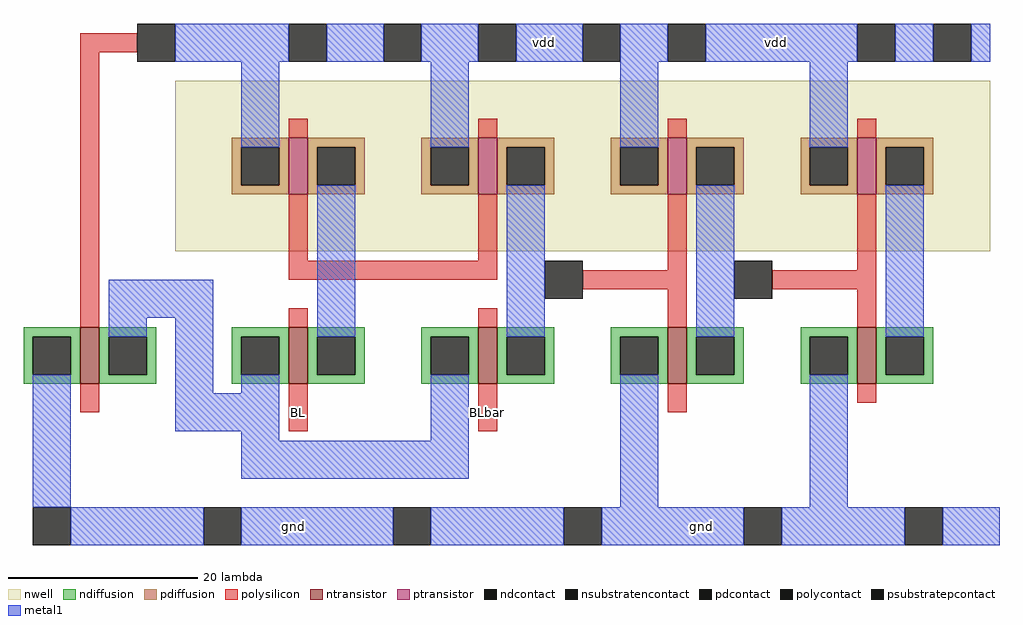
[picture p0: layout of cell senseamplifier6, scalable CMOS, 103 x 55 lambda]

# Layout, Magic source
magic
tech scmos
<< nwell >>
rect -22 -4 64 14
<< ntransistor >>
rect -32 -18 -30 -12
rect -10 -18 -8 -12
rect 10 -18 12 -12
rect 30 -18 32 -12
rect 50 -18 52 -12
<< ptransistor >>
rect -10 2 -8 8
rect 10 2 12 8
rect 30 2 32 8
rect 50 2 52 8
<< ndiffusion >>
rect -38 -13 -32 -12
rect -38 -17 -37 -13
rect -33 -17 -32 -13
rect -38 -18 -32 -17
rect -30 -13 -24 -12
rect -30 -17 -29 -13
rect -25 -17 -24 -13
rect -30 -18 -24 -17
rect -16 -13 -10 -12
rect -16 -17 -15 -13
rect -11 -17 -10 -13
rect -16 -18 -10 -17
rect -8 -13 -2 -12
rect -8 -17 -7 -13
rect -3 -17 -2 -13
rect -8 -18 -2 -17
rect 4 -13 10 -12
rect 4 -17 5 -13
rect 9 -17 10 -13
rect 4 -18 10 -17
rect 12 -13 18 -12
rect 12 -17 13 -13
rect 17 -17 18 -13
rect 12 -18 18 -17
rect 24 -13 30 -12
rect 24 -17 25 -13
rect 29 -17 30 -13
rect 24 -18 30 -17
rect 32 -13 38 -12
rect 32 -17 33 -13
rect 37 -17 38 -13
rect 32 -18 38 -17
rect 44 -13 50 -12
rect 44 -17 45 -13
rect 49 -17 50 -13
rect 44 -18 50 -17
rect 52 -13 58 -12
rect 52 -17 53 -13
rect 57 -17 58 -13
rect 52 -18 58 -17
<< pdiffusion >>
rect -16 7 -10 8
rect -16 3 -15 7
rect -11 3 -10 7
rect -16 2 -10 3
rect -8 7 -2 8
rect -8 3 -7 7
rect -3 3 -2 7
rect -8 2 -2 3
rect 4 7 10 8
rect 4 3 5 7
rect 9 3 10 7
rect 4 2 10 3
rect 12 7 18 8
rect 12 3 13 7
rect 17 3 18 7
rect 12 2 18 3
rect 24 7 30 8
rect 24 3 25 7
rect 29 3 30 7
rect 24 2 30 3
rect 32 7 38 8
rect 32 3 33 7
rect 37 3 38 7
rect 32 2 38 3
rect 44 7 50 8
rect 44 3 45 7
rect 49 3 50 7
rect 44 2 50 3
rect 52 7 58 8
rect 52 3 53 7
rect 57 3 58 7
rect 52 2 58 3
<< ndcontact >>
rect -37 -17 -33 -13
rect -29 -17 -25 -13
rect -15 -17 -11 -13
rect -7 -17 -3 -13
rect 5 -17 9 -13
rect 13 -17 17 -13
rect 25 -17 29 -13
rect 33 -17 37 -13
rect 45 -17 49 -13
rect 53 -17 57 -13
<< pdcontact >>
rect -15 3 -11 7
rect -7 3 -3 7
rect 5 3 9 7
rect 13 3 17 7
rect 25 3 29 7
rect 33 3 37 7
rect 45 3 49 7
rect 53 3 57 7
<< psubstratepcontact >>
rect -37 -35 -33 -31
rect -19 -35 -15 -31
rect 1 -35 5 -31
rect 19 -35 23 -31
rect 38 -35 42 -31
rect 55 -35 59 -31
<< nsubstratencontact >>
rect -10 16 -6 20
rect 0 16 4 20
rect 10 16 14 20
rect 21 16 25 20
rect 30 16 34 20
rect 50 16 54 20
rect 58 16 62 20
<< polysilicon >>
rect -32 17 -26 19
rect -32 -12 -30 17
rect -10 8 -8 10
rect 10 8 12 10
rect 30 8 32 10
rect 50 8 52 10
rect -10 -5 -8 2
rect 10 -5 12 2
rect -10 -7 12 -5
rect 30 -6 32 2
rect 21 -8 32 -6
rect -10 -12 -8 -10
rect 10 -12 12 -10
rect 30 -12 32 -8
rect 50 -6 52 2
rect 41 -8 52 -6
rect 50 -12 52 -8
rect -32 -21 -30 -18
rect -10 -23 -8 -18
rect 10 -23 12 -18
rect 30 -21 32 -18
rect 50 -20 52 -18
<< polycontact >>
rect -26 16 -22 20
rect 17 -9 21 -5
rect 37 -9 41 -5
<< metal1 >>
rect -22 16 -10 20
rect -6 16 0 20
rect 4 16 10 20
rect 14 16 21 20
rect 25 16 30 20
rect 34 16 50 20
rect 54 16 58 20
rect 62 16 64 20
rect -15 7 -11 16
rect 5 7 9 16
rect 25 7 29 16
rect 45 7 49 16
rect -29 -11 -18 -7
rect -29 -13 -25 -11
rect -37 -31 -33 -17
rect -22 -19 -18 -11
rect -7 -13 -3 3
rect 13 -13 17 3
rect 33 -13 37 3
rect 53 -13 57 3
rect -15 -19 -11 -17
rect -22 -23 -11 -19
rect -15 -24 -11 -23
rect 5 -24 9 -17
rect -15 -28 9 -24
rect 25 -31 29 -17
rect 45 -31 49 -17
rect -33 -35 -19 -31
rect -15 -35 1 -31
rect 5 -35 19 -31
rect 23 -35 38 -31
rect 42 -35 55 -31
rect 59 -35 65 -31
<< labels >>
rlabel polysilicon -10 -22 -8 -20 1 BL
rlabel polysilicon 10 -22 12 -20 1 BLbar
rlabel metal1 15 16 19 20 5 vdd
rlabel metal1 39 16 44 20 5 vdd
rlabel metal1 -12 -35 -7 -31 1 gnd
rlabel metal1 31 -35 36 -31 1 gnd
<< end >>
